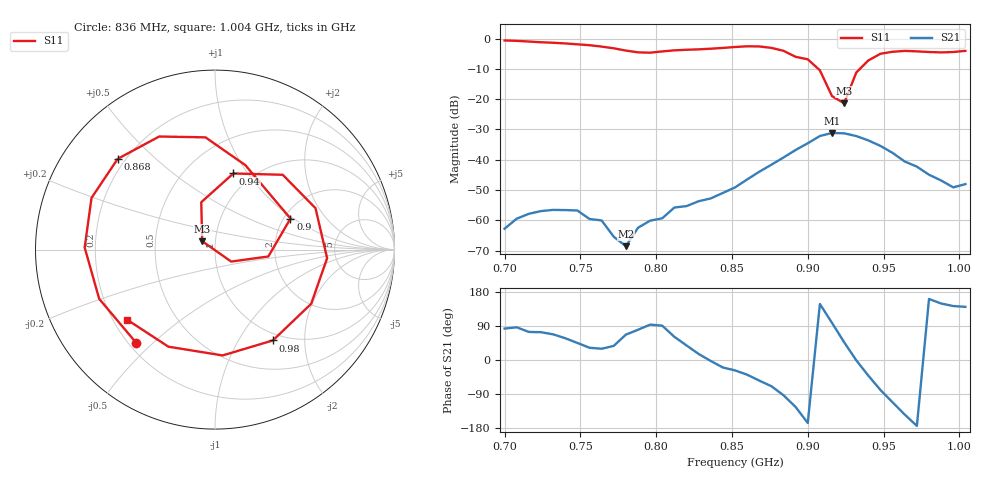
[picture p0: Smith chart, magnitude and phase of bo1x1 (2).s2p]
# Hz S RI R 50
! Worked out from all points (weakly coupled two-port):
!   39 points, 700 MHz to 1.004 GHz, reference 50 ohm
!   highest |S21| = -31.16 dB at 916 MHz (marker M1); lowest = -68.5 dB at 780 MHz (marker M2)
!   lowest |S11| = -21.4 dB at 924 MHz (marker M3), VSWR 1.19, Z = 43.2 + j4.07 ohm
!   |S11| at or under -10 dB: 907 MHz to 934.4 MHz (27.47 MHz wide, 2.98 % of centre)
!   S12 and S22 are empty: the file has one direction only
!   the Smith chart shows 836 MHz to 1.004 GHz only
!   S11 on the Smith chart (normalised r, x): 836 MHz: 0.23, -0.45; 868 MHz: 0.17, +0.38; 900 MHz: 2.17, +0.95; 940 MHz: 0.82, +0.86; 980 MHz: 0.89, -1.41; 1.004 GHz: 0.26, -0.33
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7e8  0.7476 0.5547  8.98e-05 0.000722  0 0  0 0
7.24e8  0.8364 -0.2364  0.000407 0.00136  0 0  0 0
7.4e8  0.4591 -0.6932  0.000794 0.00125  0 0  0 0
7.56e8  -0.1872 -0.7546  0.00089 0.000562  0 0  0 0
7.72e8  -0.6645 -0.1898  0.000427 0.000325  0 0  0 0
7.8e8  -0.5886 0.2349  0.000147 0.000345  0 0  0 0
7.88e8  -0.2327 0.5448  0.000134 0.000742  0 0  0 0
7.96e8  0.2628 0.5222  -5.77e-05 0.000986  0 0  0 0
8.04e8  0.5936 0.1578  -1.16e-05 0.00108  0 0  0 0
8.2e8  0.2659 -0.597  0.00134 0.00107  0 0  0 0
8.36e8  -0.4376 -0.5211  0.0023 -0.000104  0 0  0 0
8.52e8  -0.7261 0.0115  0.0031 -0.00161  0 0  0 0
8.68e8  -0.5422 0.5055  0.00369 -0.00515  0 0  0 0
8.84e8  -0.0531 0.6254  -0.000585 -0.0109  0 0  0 0
9e8  0.4204 0.1729  -0.0182 -0.00445  0 0  0 0
9.08e8  0.2972 -0.0383  -0.0208 0.0132  0 0  0 0
9.16e8  0.0903 -0.0668  -0.00383 0.0274  0 0  0 0
9.24e8  -0.0714 0.0468  0.0186 0.02  0 0  0 0
9.4e8  0.102 0.4241  0.0156 -0.0138  0 0  0 0
9.56e8  0.5599 0.2309  -0.00483 -0.012  0 0  0 0
9.8e8  0.3223 -0.5061  -0.00535 0.00184  0 0  0 0
1.004e9  -0.4909 -0.3898  -0.00304 0.00253  0 0  0 0
